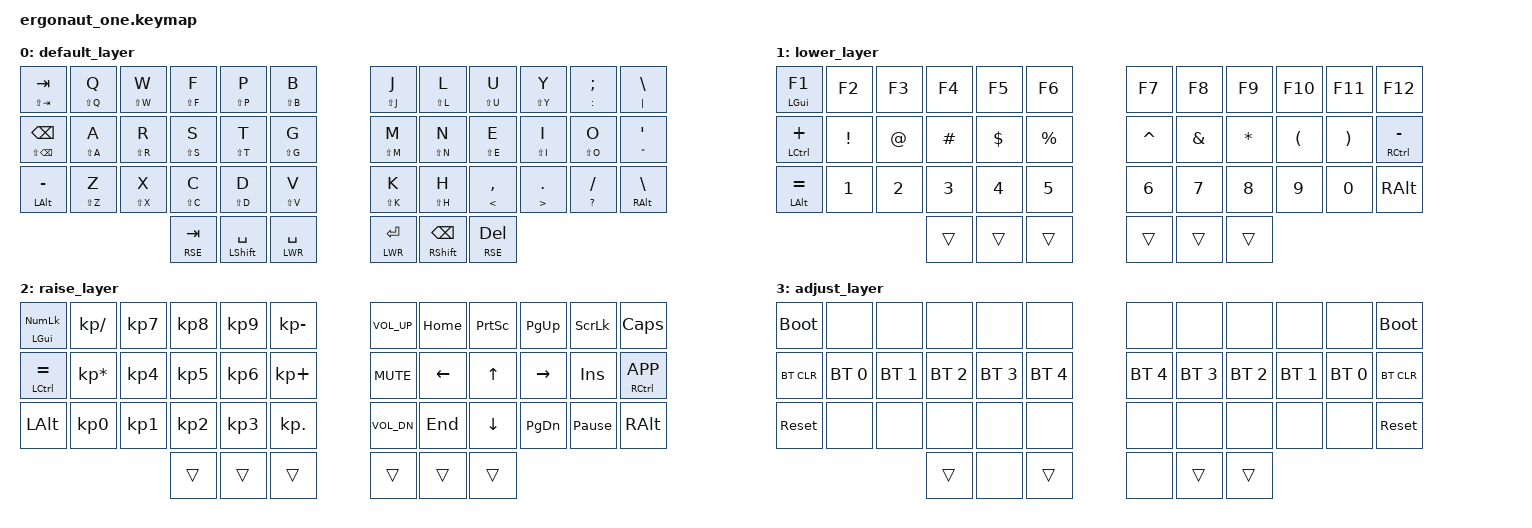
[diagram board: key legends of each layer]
#include <behaviors.dtsi>
#include <dt-bindings/zmk/bt.h>
#include <dt-bindings/zmk/keys.h>

#define DEF 0
#define LWR 1
#define RSE 2
#define ADJ 3

&lt { quick-tap-ms = <200>; };

&mt {
    quick-tap-ms = <200>;
    tapping-term-ms = <350>;
    flavor = "tap-preferred";
};

/ {
    conditional_layers {
        compatible = "zmk,conditional-layers";

        tri-layer {
            if-layers = <1 2>;
            then-layer = <3>;
        };
    };

    keymap {
        compatible = "zmk,keymap";

        default_layer {
            bindings = <
&mt LS(TAB) TAB              &mt LS(Q) Q  &mt LS(W) W  &mt LS(F) F  &mt LS(P) P      &mt LS(B) B    &mt LS(J) J    &mt LS(L) L     &mt LS(U) U          &mt LS(Y) Y              &mt COLON SEMICOLON  &mt PIPE BACKSLASH
&mt LS(BACKSPACE) BACKSPACE  &mt LS(A) A  &mt LS(R) R  &mt LS(S) S  &mt LS(T) T      &mt LS(G) G    &mt LS(M) M    &mt LS(N) N     &mt LS(E) E          &mt LS(I) I              &mt LS(O) O          &mt DOUBLE_QUOTES SQT
&mt LALT MINUS               &mt LS(Z) Z  &mt LS(X) X  &mt LS(C) C  &mt LS(D) D      &mt LS(V) V    &mt LS(K) K    &mt LS(H) H     &mt LESS_THAN COMMA  &mt GREATER_THAN PERIOD  &mt QUESTION SLASH   &mt RALT BSLH
                                                       &lt RSE TAB  &mt LSHFT SPACE  &lt LWR SPACE  &lt LWR ENTER  &mt RSHFT BSPC  &lt RSE DEL
            >;
        };

        lower_layer {
            bindings = <
&mt LGUI F1     &kp F2    &kp F3  &kp F4    &kp F5    &kp F6     &kp F7     &kp F8    &kp F9    &kp F10   &kp F11   &kp F12
&mt LCTRL PLUS  &kp EXCL  &kp AT  &kp HASH  &kp DLLR  &kp PRCNT  &kp CARET  &kp AMPS  &kp STAR  &kp LPAR  &kp RPAR  &mt RCTRL MINUS
&mt LALT EQUAL  &kp N1    &kp N2  &kp N3    &kp N4    &kp N5     &kp N6     &kp N7    &kp N8    &kp N9    &kp N0    &kp RALT
                                  &trans    &trans    &trans     &trans     &trans    &trans
            >;
        };

        raise_layer {
            bindings = <
&mt LGUI KP_NUM  &kp KP_SLASH     &kp KP_N7  &kp KP_N8  &kp KP_N9  &kp KP_MINUS  &kp C_VOL_UP  &kp HOME  &kp PSCRN  &kp PG_UP  &kp SLCK         &kp CLCK
&mt LCTRL EQUAL  &kp KP_MULTIPLY  &kp KP_N4  &kp KP_N5  &kp KP_N6  &kp KP_PLUS   &kp C_MUTE    &kp LEFT  &kp UP     &kp RIGHT  &kp INS          &mt RCTRL K_APP
&kp LALT         &kp KP_N0        &kp KP_N1  &kp KP_N2  &kp KP_N3  &kp KP_DOT    &kp C_VOL_DN  &kp END   &kp DOWN   &kp PG_DN  &kp PAUSE_BREAK  &kp RALT
                                             &trans     &trans     &trans        &trans        &trans    &trans
            >;
        };

        adjust_layer {
            bindings = <
&bootloader  &none         &none         &none         &none         &none         &none         &none         &none         &none         &none         &bootloader
&bt BT_CLR   &bt BT_SEL 0  &bt BT_SEL 1  &bt BT_SEL 2  &bt BT_SEL 3  &bt BT_SEL 4  &bt BT_SEL 4  &bt BT_SEL 3  &bt BT_SEL 2  &bt BT_SEL 1  &bt BT_SEL 0  &bt BT_CLR
&sys_reset   &none         &none         &none         &none         &none         &none         &none         &none         &none         &none         &sys_reset
                                         &trans        &none         &trans        &none         &trans        &trans
            >;
        };
    };
};
